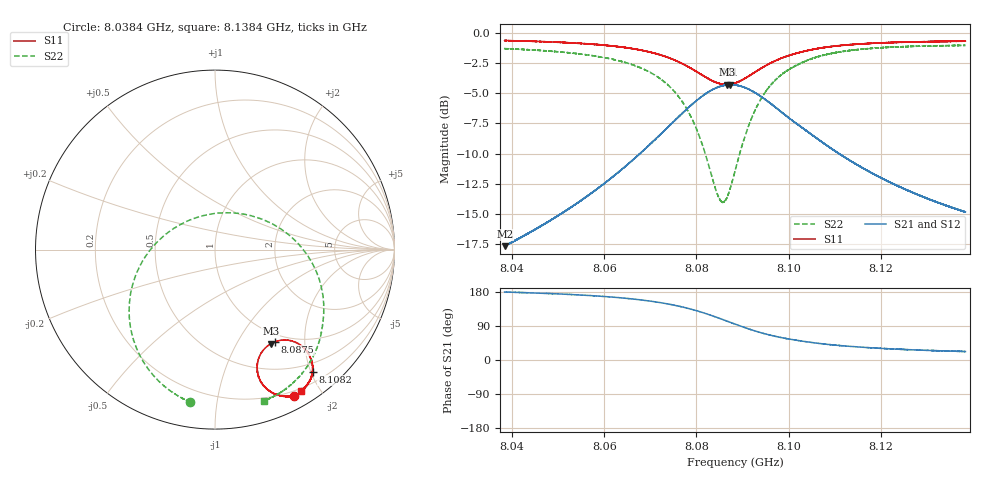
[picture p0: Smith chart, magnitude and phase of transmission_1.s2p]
!Agilent Technologies,N5221A,MY51411109,A.09.90.13
!Agilent N5221A: A.09.90.13
!Date: Thursday, March 03, 2022 12:35:17
!Correction: S11(Full 2 Port(1,2))
!S21(Full 2 Port(1,2))
!S12(Full 2 Port(1,2))
!S22(Full 2 Port(1,2))
!S2P File: Measurements: S11, S21, S12, S22:
# Hz S  RI  R 50
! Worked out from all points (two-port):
!   20001 points, 8.0384 GHz to 8.1384 GHz, reference 50 ohm
!   highest |S21| = -4.30 dB at 8.0874 GHz (marker M1); lowest = -17.7 dB at 8.0384 GHz (marker M2)
!   |S21| within 3 dB of the highest: 8.07523 GHz to 8.100853 GHz (25.62 MHz wide, 0.317 % of centre); 8.100855 GHz to 8.100878 GHz (22.73 kHz wide, 0.000281 % of centre)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
!   lowest |S11| = -4.3 dB at 8.0867 GHz (marker M3), VSWR 4.11, Z = 42 - j69.9 ohm
!   |S11| at or under -10 dB: nowhere
!   |S22| runs from -14.1 to -1.0 dB; largest |S21 - S12| = 0.0023
!   S11 on the Smith chart (normalised r, x): 8.0384 GHz: 0.14, -1.67; 8.0875 GHz: 0.88, -1.45; 8.1082 GHz: 0.36, -2.03; 8.1384 GHz: 0.17, -1.77
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8.038369e9  0.44 -0.8168  -0.1313 0.00155  -0.1309 0.00144  -0.1416 -0.8472
8.038389e9  0.4412 -0.8161  -0.1308 0.00149  -0.131 0.00122  -0.1419 -0.8472
8.055039e9  0.3826 -0.8175  -0.2007 0.0305  -0.2004 0.0305  -0.2749 -0.7673
8.064579e9  0.3295 -0.8024  -0.2673 0.0821  -0.2676 0.0822  -0.3851 -0.6461
8.071704e9  0.2769 -0.7648  -0.3285 0.1732  -0.329 0.1734  -0.4655 -0.4593
8.076284e9  0.2461 -0.7139  -0.3548 0.28  -0.3547 0.2792  -0.472 -0.2592
8.079809e9  0.2344 -0.6531  -0.3396 0.3934  -0.3398 0.3933  -0.4028 -0.0638
8.082229e9  0.2446 -0.6034  -0.2962 0.4785  -0.2951 0.479  -0.2934 0.0698
8.084749e9  0.2757 -0.5531  -0.2139 0.5565  -0.2138 0.5552  -0.1192 0.1728
8.085724e9  0.2936 -0.5368  -0.1722 0.5781  -0.173 0.5779  -0.039 0.1954
8.086654e9  0.3109 -0.5236  -0.1306 0.5934  -0.1309 0.5927  0.04 0.2051
8.087384e9  0.3303 -0.5155  -0.0975 0.602  -0.0971 0.6018  0.1031 0.2036
8.087504e9  0.3327 -0.5147  -0.0916 0.6022  -0.0916 0.6021  0.1138 0.203
8.088369e9  0.3524 -0.5083  -0.05 0.6054  -0.0497 0.6051  0.1869 0.1924
8.091939e9  0.4366 -0.5116  0.1033 0.5666  0.1033 0.5663  0.4375 0.0586
8.095244e9  0.4913 -0.5451  0.1974 0.4851  0.1968 0.4856  0.5651 -0.1237
8.099944e9  0.53 -0.6029  0.2519 0.3673  0.2517 0.3674  0.6062 -0.3552
8.105039e9  0.5441 -0.6548  0.262 0.2733  0.262 0.2731  0.5761 -0.5275
8.108209e9  0.5439 -0.6808  0.2564 0.227  0.2566 0.2265  0.5419 -0.604
8.114289e9  0.5338 -0.7176  0.236 0.1654  0.2365 0.1652  0.4716 -0.7053
8.121704e9  0.5187 -0.7472  0.2103 0.1201  0.2106 0.1198  0.3971 -0.7737
8.138369e9  0.4816 -0.7866  0.1676 0.069  0.1672 0.0686  0.2742 -0.8426
